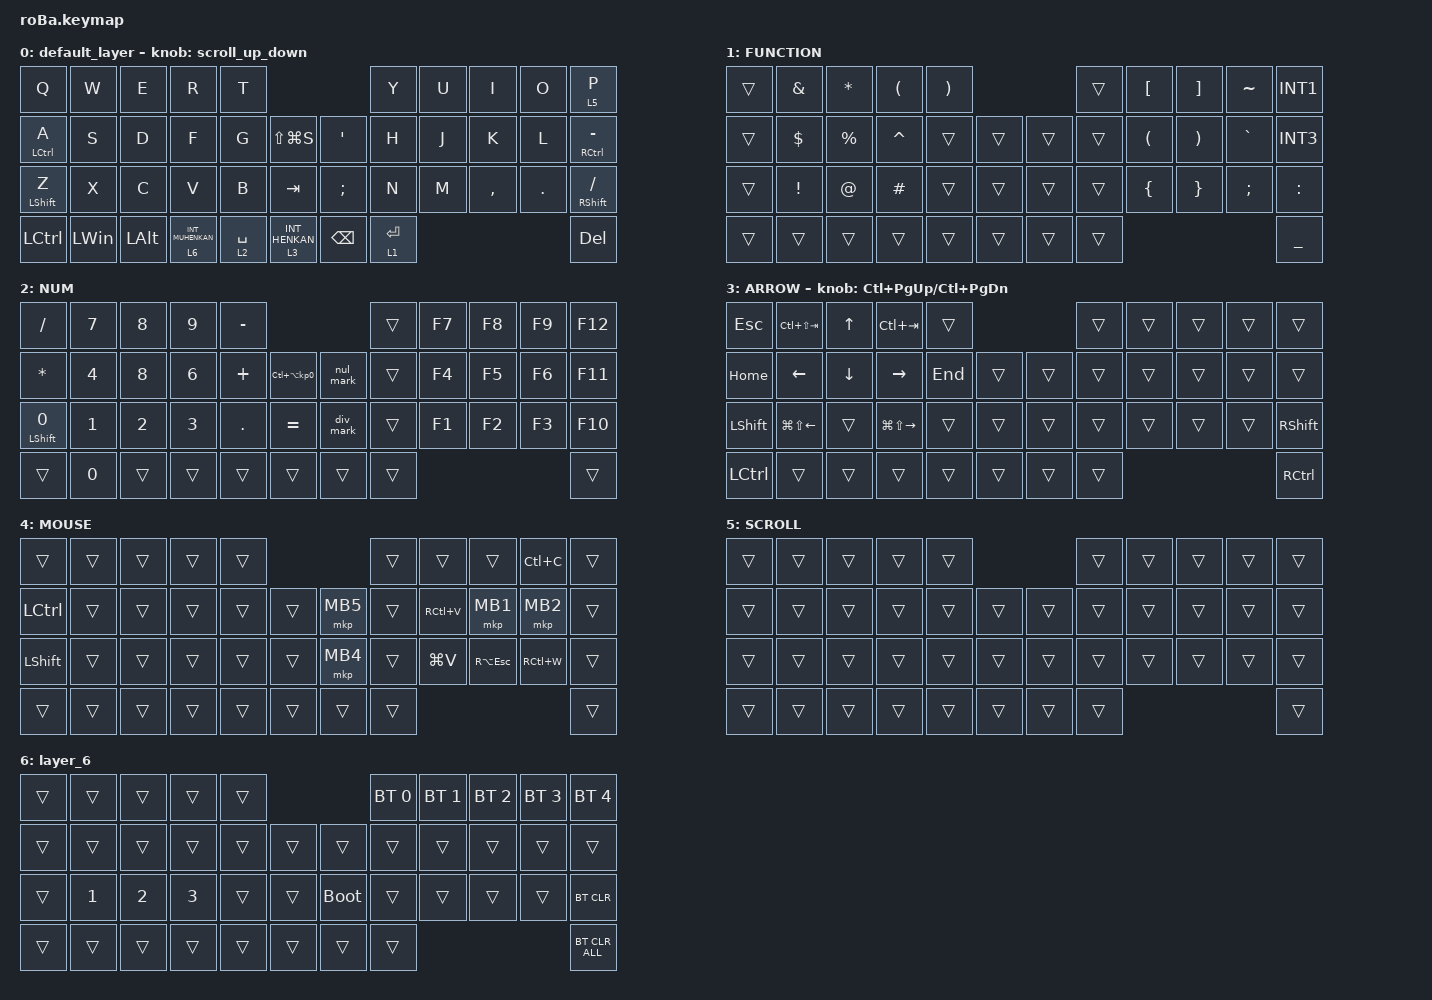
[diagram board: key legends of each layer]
#include <behaviors.dtsi>
#include <dt-bindings/zmk/bt.h>
#include <dt-bindings/zmk/keys.h>
#include <dt-bindings/zmk/pointing.h>

#define ZMK_POINTING_DEFAULT_SCRL_VAL 100

&mt {
    flavor = "balanced";
    quick-tap-ms = <0>;
};

&trackball {
    automouse-layer = <4>;
    scroll-layers = <5>;

    // arrows {
    //     layers = <3>;
    //     bindings =
    //         <&kp RIGHT_ARROW>,
    //         <&kp LEFT_ARROW>,
    //         <&kp UP_ARROW>,
    //         <&kp DOWN_ARROW>;
    //     tick = <10>;
    //     wait-ms = <5>;
    //     tap-ms = <5>;
    // };
};

/ {
    combos {
        compatible = "zmk,combos";

        tab {
            bindings = <&kp TAB>;
            key-positions = <1 0>;
        };

        shift_tab {
            bindings = <&kp LS(TAB)>;
            key-positions = <1 2>;
        };

        muhennkann {
            bindings = <&nul_mark INT_MUHENKAN>;
            key-positions = <11 10>;
        };

        double_quotation {
            bindings = <&kp DOUBLE_QUOTES>;
            key-positions = <20 21>;
        };

        eq {
            bindings = <&kp EQUAL>;
            key-positions = <24 25>;
        };
    };

    macros {
        nul_mark: Alt_0215 {
            compatible = "zmk,behavior-macro";
            #binding-cells = <0>;
            bindings =
                <&macro_press>,
                <&kp LALT>,
                <&macro_tap>,
                <&kp KP_NUMBER_0 &kp KP_NUMBER_2 &kp KP_NUMBER_1 &kp KP_NUMBER_5>,
                <&macro_release>,
                <&kp LALT>;

            label = "ALT_0215";
        };

        div_mark: Alt_0247 {
            compatible = "zmk,behavior-macro";
            #binding-cells = <0>;
            bindings =
                <&macro_press>,
                <&kp LALT>,
                <&macro_tap>,
                <&kp KP_NUMBER_0 &kp KP_NUMBER_2 &kp KP_NUMBER_4 &kp KP_NUMBER_7>,
                <&macro_release>,
                <&kp LALT>;

            label = "ALT_0247";
        };
    };

    behaviors {
        lt_to_layer_0: lt_to_layer_0 {
            compatible = "zmk,behavior-hold-tap";
            label = "LAYER_TAP_TO_0";
            bindings = <&mo>, <&nul_mark>;

            #binding-cells = <2>;
            tapping-term-ms = <200>;
        };

        scroll_up_down: behavior_sensor_rotate_mouse_wheel_up_down {
            compatible = "zmk,behavior-sensor-rotate";
            #sensor-binding-cells = <0>;
            bindings = <&msc SCRL_UP>, <&msc SCRL_DOWN>;

            // 追加: スクロールのタップ時間を設定 (20ms)

            tap-ms = <20>;
        };
    };

    keymap {
        compatible = "zmk,keymap";

        default_layer {
            bindings = <
&kp Q             &kp W         &kp E         &kp R               &kp T                                             &kp Y        &kp U  &kp I      &kp O    &lt 5 P
&mt LCTRL A       &kp S         &kp D         &kp F               &kp G        &kp LS(LG(S))         &kp APOS       &kp H        &kp J  &kp K      &kp L    &mt RIGHT_CONTROL MINUS
&mt LEFT_SHIFT Z  &kp X         &kp C         &kp V               &kp B        &kp TAB               &kp SEMICOLON  &kp N        &kp M  &kp COMMA  &kp DOT  &mt RIGHT_SHIFT SLASH
&kp LCTRL         &kp LEFT_WIN  &kp LEFT_ALT  &lt 6 INT_MUHENKAN  &lt 2 SPACE  &lt 3 INT_HENKAN      &kp BACKSPACE  &lt 1 ENTER                             &kp DELETE
            >;

            sensor-bindings = <&scroll_up_down>;
        };

        FUNCTION {
            bindings = <
&trans  &kp AMPERSAND    &kp ASTERISK  &kp LEFT_PARENTHESIS  &kp RIGHT_PARENTHESIS                      &trans  &kp LEFT_BRACKET      &kp RIGHT_BRACKET      &kp TILDE      &kp INT1
&trans  &kp DOLLAR       &kp PERCENT   &kp CARET             &trans                 &trans      &trans  &trans  &kp LEFT_PARENTHESIS  &kp RIGHT_PARENTHESIS  &kp GRAVE      &kp INT3
&trans  &kp EXCLAMATION  &kp AT_SIGN   &kp HASH              &trans                 &trans      &trans  &trans  &kp LEFT_BRACE        &kp RIGHT_BRACE        &kp SEMICOLON  &kp COLON
&trans  &trans           &trans        &trans                &trans                 &trans      &trans  &trans                                                              &kp UNDERSCORE
            >;
        };

        NUM {
            bindings = <
&kp SLASH                &kp NUMBER_7  &kp NUMBER_8  &kp NUMBER_9  &kp MINUS                                           &trans  &kp F7  &kp F8  &kp F9  &kp F12
&kp ASTERISK             &kp NUMBER_4  &kp NUMBER_8  &kp NUMBER_6  &kp PLUS    &kp LC(LA(KP_NUMBER_0))      &nul_mark  &trans  &kp F4  &kp F5  &kp F6  &kp F11
&mt LEFT_SHIFT NUMBER_0  &kp NUMBER_1  &kp NUMBER_2  &kp NUMBER_3  &kp PERIOD  &kp EQUAL                    &div_mark  &trans  &kp F1  &kp F2  &kp F3  &kp F10
&trans                   &kp NUMBER_0  &trans        &trans        &trans      &trans                       &trans     &trans                          &trans
            >;
        };

        ARROW {
            bindings = <
&kp ESCAPE        &kp LC(LS(TAB))         &kp UP_ARROW    &kp LC(TAB)              &trans                       &trans  &trans  &trans  &trans  &trans
&kp HOME          &kp LEFT_ARROW          &kp DOWN_ARROW  &kp RIGHT_ARROW          &kp END  &trans      &trans  &trans  &trans  &trans  &trans  &trans
&kp LEFT_SHIFT    &kp LG(LS(LEFT_ARROW))  &trans          &kp LG(LS(RIGHT_ARROW))  &trans   &trans      &trans  &trans  &trans  &trans  &trans  &kp RSHIFT
&kp LEFT_CONTROL  &trans                  &trans          &trans                   &trans   &trans      &trans  &trans                          &kp RIGHT_CONTROL
            >;

            sensor-bindings = <&inc_dec_kp LC(PAGE_UP) LC(PAGE_DOWN)>;
        };

        MOUSE {
            bindings = <
&trans     &trans  &trans  &trans  &trans                        &trans  &trans     &trans       &kp LC(C)  &trans
&kp LCTRL  &trans  &trans  &trans  &trans  &trans      &mkp MB5  &trans  &kp RC(V)  &mkp MB1     &mkp MB2   &trans
&kp LSHFT  &trans  &trans  &trans  &trans  &trans      &mkp MB4  &trans  &kp LG(V)  &kp RA(ESC)  &kp RC(W)  &trans
&trans     &trans  &trans  &trans  &trans  &trans      &trans    &trans                                     &trans
            >;
        };

        SCROLL {
            bindings = <
&trans  &trans  &trans  &trans  &trans                      &trans  &trans  &trans  &trans  &trans
&trans  &trans  &trans  &trans  &trans  &trans      &trans  &trans  &trans  &trans  &trans  &trans
&trans  &trans  &trans  &trans  &trans  &trans      &trans  &trans  &trans  &trans  &trans  &trans
&trans  &trans  &trans  &trans  &trans  &trans      &trans  &trans                          &trans
            >;
        };

        layer_6 {
            bindings = <
&trans  &trans        &trans        &trans        &trans                           &bt BT_SEL 0  &bt BT_SEL 1  &bt BT_SEL 2  &bt BT_SEL 3  &bt BT_SEL 4
&trans  &trans        &trans        &trans        &trans  &trans      &trans       &trans        &trans        &trans        &trans        &trans
&trans  &kp NUMBER_1  &kp NUMBER_2  &kp NUMBER_3  &trans  &trans      &bootloader  &trans        &trans        &trans        &trans        &bt BT_CLR
&trans  &trans        &trans        &trans        &trans  &trans      &trans       &trans                                                  &bt BT_CLR_ALL
            >;
        };
    };
};
